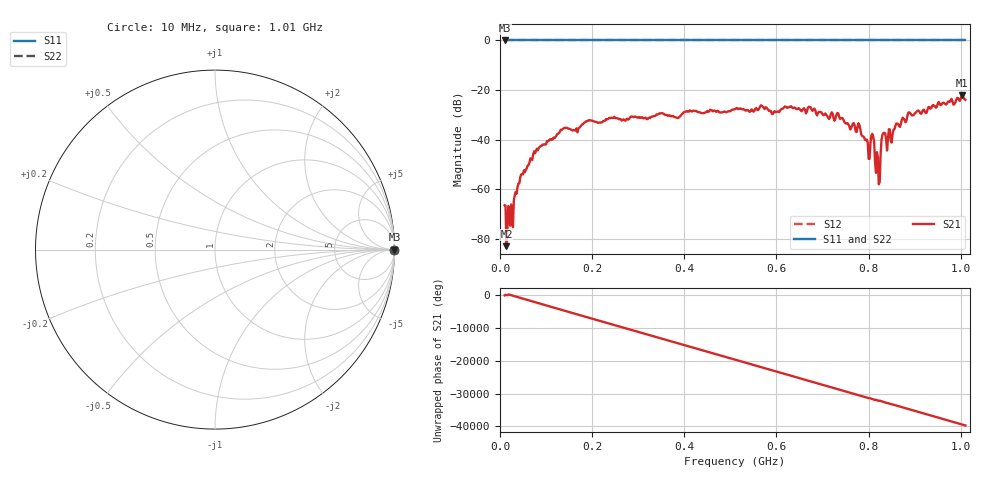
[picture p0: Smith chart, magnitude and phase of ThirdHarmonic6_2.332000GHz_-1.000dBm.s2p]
! 8/17/2025 3:23:12 AM
! C:\ANRITSUVNA\TEMP\TEMP.S2P
! CHANNEL.1
! TR.MEASUREMENT
! RAW.DATA
! RF.CORRECTION.OFF
! AVERAGING.OFF
! IF.BANDWIDTH: 5KHZ
! SWEEPTYPE:  FREQ.SWEEP(Linear)
! Reference Plane Port Info
! PORT:  PORT1  PORT2
! DISTANCE:  0  m  0  m
! TIME:  0  s  0  s
! PHASE.OFFSET:  0  deg.  0  deg.
! LOSS:  0  dB  0  dB
! REF.LOSS:  0  dB  0  dB
! REF.FREQ:  0  Hz  0  Hz
! Power Info
! POWER:  -20  dBm  -20  dBm
! EFF.POWER:  -20  dBm  -20  dBm
! SOURCE.ATTEN:  0  dB  0  dB
! TEST.ATTEN:  0  dB  0  dB
# GHZ S RI R 50.0
! FREQ.GHZ  S11RE  S11IM  S21RE  S21IM  S12RE  S12IM  S22RE  S22IM
!; PortSelection: Port_12
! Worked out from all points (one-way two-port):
!   501 points, 10 MHz to 1.01 GHz, reference 50 ohm
!   highest |S21| = -22.16 dB at 1.002 GHz (marker M1); lowest = -82.8 dB at 14 MHz (marker M2)
!   lowest |S11| = 0.0 dB at 10 MHz (marker M3)
!   |S11| at or under -10 dB: nowhere
!   |S22| runs from 0.0 to 0.0 dB; largest |S21 - S12| = 1.1
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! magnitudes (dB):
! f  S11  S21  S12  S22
! 10 MHz  0.0  -66.4  0.0  0.0
! 14 MHz  0.0  -82.8  0.0  0.0
! 18 MHz  0.0  -66.7  0.0  0.0
! 26 MHz  0.0  -68.8  0.0  0.0
! 44 MHz  0.0  -55.1  0.0  0.0
! 76 MHz  0.0  -45.4  0.0  0.0
! 136 MHz  0.0  -35.7  0.0  0.0
! 178 MHz  0.0  -33.9  0.0  0.0
! 344 MHz  0.0  -29.7  0.0  0.0
! 384 MHz  0.0  -31.2  0.0  0.0
! 510 MHz  0.0  -27.7  0.0  0.0
! 678 MHz  0.0  -28.4  0.0  0.0
! 780 MHz  0.0  -34.1  0.0  0.0
! 800 MHz  0.0  -47.7  0.0  0.0
! 808 MHz  0.0  -37.6  0.0  0.0
! 820 MHz  0.0  -46.9  0.0  0.0
! 826 MHz  0.0  -45.8  0.0  0.0
! 832 MHz  0.0  -37.3  0.0  0.0
! 844 MHz  0.0  -35.7  0.0  0.0
! 888 MHz  0.0  -28.9  0.0  0.0
! 1.002 GHz  0.0  -22.2  0.0  0.0
! 1.01 GHz  0.0  -23.9  0.0  0.0
